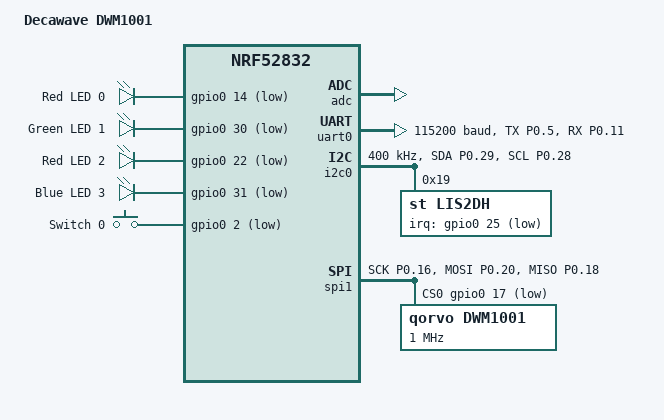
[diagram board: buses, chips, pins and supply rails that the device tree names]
/*
 * Copyright (c) 2017 Shawn Nock <shawn@monadnock.ca>
 * Copyright (c) 2017 Linaro Limited
 * Copyright (c) 2019 Frederic Mes <fred@rtloc.com>
 *
 * SPDX-License-Identifier: Apache-2.0
 */

/dts-v1/;
#include <nordic/nrf52832_qfaa.dtsi>

/ {
	model = "Decawave DWM1001";
	compatible = "decawave,dwm1001", "nordic,nrf52-dk-nrf52832";

	chosen {
		zephyr,console = &uart0;
		zephyr,shell-uart = &uart0;
		zephyr,uart-mcumgr = &uart0;
		zephyr,sram = &sram0;
		zephyr,flash = &flash0;
		zephyr,code-partition = &slot0_partition;
	};

	/* These aliases are provided for compatibility with samples */
	aliases {
		led0 = &led0;
		led1 = &led1;
		led2 = &led2;
		led3 = &led3;
		sw0  = &button0;
	};

	leds {
		compatible = "gpio-leds";
		led0: led_0 {
			gpios = <&gpio0 14 GPIO_ACTIVE_LOW>;
			label = "Red LED 0";
		};
		led1: led_1 {
			gpios = <&gpio0 30 GPIO_ACTIVE_LOW>;
			label = "Green LED 1";
		};
		led2: led_2 {
			gpios = <&gpio0 22 GPIO_ACTIVE_LOW>;
			label = "Red LED 2";
		};
		led3: led_3 {
			gpios = <&gpio0 31 GPIO_ACTIVE_LOW>;
			label = "Blue LED 3";
		};
	};

	buttons {
		compatible = "gpio-keys";
		button0: button_0 {
			gpios = <&gpio0 2 (GPIO_PULL_UP | GPIO_ACTIVE_LOW)>;
			label = "Switch 0";
		};
	};

	radio {
		compatible = "gpio-generic";
		dwmirq: dwm_irq {
			gpios = <&gpio0 19 (GPIO_PULL_UP | GPIO_ACTIVE_LOW)>;
			label = "RADIO_IRQ";
		};
	};
};

&pinctrl {
	uart0_default: uart0_default {
		group1 {
			psels = <NRF_PSEL(UART_TX, 0, 5)>,
				    <NRF_PSEL(UART_RX, 0, 11)>;
		};
	};

	uart0_sleep: uart0_sleep {
		group1 {
			psels = <NRF_PSEL(UART_TX, 0, 5)>,
				    <NRF_PSEL(UART_RX, 0, 11)>;
			low-power-enable;
		};
	};

	i2c0_default: i2c0_default {
		group1 {
			psels = <NRF_PSEL(TWIM_SDA, 0, 29)>,
				    <NRF_PSEL(TWIM_SCL, 0, 28)>;
		};
	};

	i2c0_sleep: i2c0_sleep {
		group1 {
			psels = <NRF_PSEL(TWIM_SDA, 0, 29)>,
				    <NRF_PSEL(TWIM_SCL, 0, 28)>;
			low-power-enable;
		};
	};

	spi1_default: spi1_default {
		group1 {
			psels = <NRF_PSEL(SPIM_SCK,  0, 16)>,
				    <NRF_PSEL(SPIM_MOSI, 0, 20)>,
				    <NRF_PSEL(SPIM_MISO, 0, 18)>;
		};
	};

	spi1_sleep: spi1_sleep {
		group1 {
			psels = <NRF_PSEL(SPIM_SCK,  0, 16)>,
				    <NRF_PSEL(SPIM_MOSI, 0, 20)>,
				    <NRF_PSEL(SPIM_MISO, 0, 18)>;
			low-power-enable;
		};
	};
};

&adc {
	status = "okay";
};

&gpiote {
	status = "okay";
};

&gpio0 {
	status = "okay";
};

&uart0 {
	status = "okay";
	compatible = "nordic,nrf-uart";
	current-speed = <115200>;
	pinctrl-0 = <&uart0_default>;
	pinctrl-1 = <&uart0_sleep>;
	pinctrl-names = "default", "sleep";
};

&i2c0 {
	compatible = "nordic,nrf-twi";
	status = "okay";
	clock-frequency = <I2C_BITRATE_FAST>;
	pinctrl-0 = <&i2c0_default>;
	pinctrl-1 = <&i2c0_sleep>;
	pinctrl-names = "default", "sleep";
	
	/* embedded LIS2DH accelerometer  */
	lis2dh@19 {
		compatible = "st,lis2dh";
		reg = <0x19>;
		irq-gpios = <&gpio0 25 (GPIO_PULL_UP | GPIO_ACTIVE_LOW)>;
	};
};

&spi1 {
	compatible = "nordic,nrf-spi";
	status = "okay";
	pinctrl-0 = <&spi1_default>;
	pinctrl-1 = <&spi1_sleep>;
	pinctrl-names = "default", "sleep";
    cs-gpios = <&gpio0 17 (GPIO_PULL_UP | GPIO_ACTIVE_LOW)>;

    dwm1001@0 {
        compatible = "qorvo,dwm1001";
    	spi-max-frequency = <1000000>;
        reg = <0>;
    };	
};

&flash0 {
	/*
	 * For more information, see:
	 * http://docs.zephyrproject.org/latest/guides/dts/index.html#flash-partitions
	 */
	partitions {
		compatible = "fixed-partitions";
		#address-cells = <1>;
		#size-cells = <1>;

		boot_partition: partition@0 {
			label = "mcuboot";
			reg = <0x00000000 0xc000>;
		};
		slot0_partition: partition@c000 {
			label = "image-0";
			reg = <0x0000C000 0x32000>;
		};
		slot1_partition: partition@3e000 {
			label = "image-1";
			reg = <0x0003E000 0x32000>;
		};
		scratch_partition: partition@70000 {
			label = "image-scratch";
			reg = <0x00070000 0xa000>;
		};
		storage_partition: partition@7a000 {
			label = "storage";
			reg = <0x0007a000 0x00006000>;
		};
	};
};
